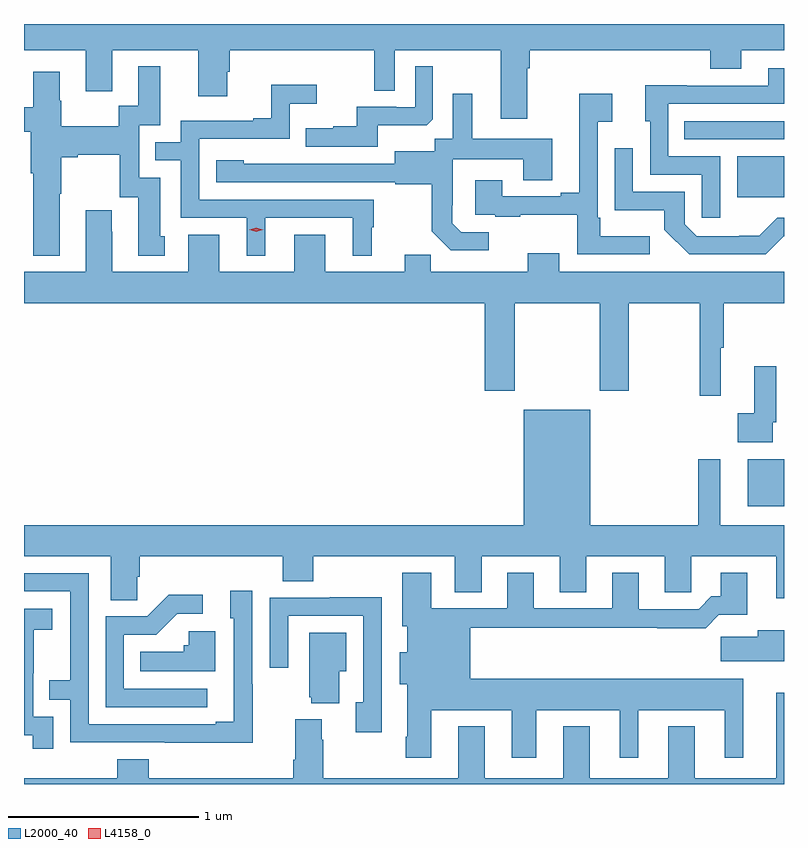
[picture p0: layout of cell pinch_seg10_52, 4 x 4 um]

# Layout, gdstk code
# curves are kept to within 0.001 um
import gdstk
lib = gdstk.Library(unit=1e-6, precision=1e-09)
def R(c, l, rs):  # rectangles x0, y0, x1, y1
    for r in rs: c.add(gdstk.rectangle(r[:2], r[2:], *l))
def P(c, l, *ps):  # polygons
    for p in ps: c.add(gdstk.Polygon(p, *l))
L2000_40 = (2000, 40)
L4158_0 = (4158, 0)

pinch_seg10_52 = lib.new_cell('pinch_seg10_52')
R(pinch_seg10_52, L2000_40, [(847.181,1296.584,847.371,1296.829), (847.124,1298.21,847.371,1298.425), (846.847,1298.514,847.371,1298.61)])
P(pinch_seg10_52, L2000_40, [(843.371,1298.984),(843.695,1298.984),(843.695,1298.766),(843.835,1298.766),(843.835,1298.984),(844.289,1298.984),(844.289,1298.742),(844.441,1298.742),(844.441,1298.871),(844.454,1298.871),(844.454,1298.984),(845.214,1298.984),(845.214,1298.77),(845.322,1298.77),(845.322,1298.984),(845.879,1298.984),(845.879,1298.622),(846.019,1298.622),(846.019,1298.888),(846.032,1298.888),(846.032,1298.984),(846.983,1298.984),(846.983,1298.885),(847.147,1298.885),(847.147,1298.984),(847.371,1298.984),(847.371,1299.121),(843.371,1299.121)],
  [(845.233,1298.588),(845.491,1298.588),(845.523,1298.619),(845.523,1298.899),(845.43,1298.899),(845.43,1298.682),(845.33,1298.682),(845.33,1298.685),(845.123,1298.685),(845.123,1298.584),(844.999,1298.584),(844.999,1298.572),(844.855,1298.572),(844.855,1298.475),(845.233,1298.475)],
  [(843.559,1298.227),(843.567,1298.227),(843.567,1298.42),(843.655,1298.42),(843.655,1298.432),(843.875,1298.432),(843.875,1298.208),(843.971,1298.208),(843.971,1297.902),(844.111,1297.902),(844.111,1298.004),(844.087,1298.004),(844.087,1298.313),(843.978,1298.313),(843.978,1298.589),(844.087,1298.589),(844.087,1298.899),(843.971,1298.899),(843.971,1298.69),(843.87,1298.69),(843.87,1298.584),(843.567,1298.584),(843.567,1298.718),(843.559,1298.718),(843.559,1298.869),(843.419,1298.869),(843.419,1298.683),(843.371,1298.683),(843.371,1298.554),(843.407,1298.554),(843.407,1298.336),(843.419,1298.336),(843.419,1297.901),(843.559,1297.901)],
  [(847.035,1298.424),(846.762,1298.424),(846.762,1298.7),(847.371,1298.7),(847.371,1298.887),(847.289,1298.887),(847.289,1298.796),(846.859,1298.796),(846.859,1298.798),(846.641,1298.798),(846.641,1298.61),(846.666,1298.61),(846.666,1298.328),(846.939,1298.328),(846.939,1298.1),(847.035,1298.1)],
  [(844.642,1298.1),(845.102,1298.1),(845.102,1297.901),(845.2,1297.901),(845.2,1298.052),(845.212,1298.052),(845.212,1298.196),(844.293,1298.196),(844.293,1298.517),(844.77,1298.517),(844.77,1298.702),(844.912,1298.702),(844.912,1298.801),(844.672,1298.801),(844.672,1298.626),(844.577,1298.626),(844.577,1298.613),(844.197,1298.613),(844.197,1298.499),(844.063,1298.499),(844.063,1298.403),(844.197,1298.403),(844.197,1298.1),(844.544,1298.1),(844.544,1297.901),(844.642,1297.901)],
  [(845.818,1298.025),(845.673,1298.025),(845.626,1298.072),(845.626,1298.167),(845.628,1298.167),(845.628,1298.408),(845.999,1298.408),(845.999,1298.299),(846.151,1298.299),(846.151,1298.518),(845.731,1298.518),(845.731,1298.755),(845.627,1298.755),(845.627,1298.516),(845.532,1298.516),(845.532,1298.452),(845.321,1298.452),(845.321,1298.385),(844.527,1298.386),(844.527,1298.404),(844.383,1298.404),(844.383,1298.289),(845.325,1298.289),(845.325,1298.277),(845.517,1298.277),(845.517,1298.031),(845.617,1297.931),(845.818,1297.931)],
  [(846.664,1298.005),(846.403,1298.005),(846.403,1298.101),(846.39,1298.101),(846.39,1298.606),(846.466,1298.606),(846.466,1298.755),(846.293,1298.755),(846.293,1298.233),(846.197,1298.233),(846.197,1298.214),(845.887,1298.214),(845.887,1298.299),(845.747,1298.299),(845.747,1298.118),(845.851,1298.118),(845.851,1298.106),(845.983,1298.106),(845.983,1298.117),(846.282,1298.117),(846.282,1297.908),(846.664,1297.908)],
  [(847.37,1298.003),(847.371,1298.1),(847.335,1298.1),(847.241,1298.006),(847.136,1298.006),(847.136,1298.004),(846.912,1298.004),(846.849,1298.067),(846.849,1298.238),(846.576,1298.238),(846.576,1298.467),(846.48,1298.467),(846.48,1298.141),(846.742,1298.141),(846.742,1298.039),(846.872,1297.908),(847.275,1297.908)],
  [(847.037,1297.416),(847.055,1297.416),(847.055,1297.652),(847.371,1297.652),(847.371,1297.816),(846.187,1297.816),(846.187,1297.915),(846.023,1297.915),(846.023,1297.816),(845.513,1297.816),(845.513,1297.907),(845.375,1297.907),(845.375,1297.816),(844.957,1297.816),(844.957,1298.011),(844.793,1298.011),(844.793,1297.816),(844.399,1297.816),(844.399,1298.011),(844.235,1298.011),(844.235,1297.816),(843.835,1297.816),(843.835,1298.027),(843.832,1298.027),(843.832,1298.14),(843.695,1298.14),(843.695,1297.816),(843.371,1297.816),(843.371,1297.652),(845.795,1297.652),(845.795,1297.191),(845.955,1297.191),(845.955,1297.652),(846.4,1297.652),(846.4,1297.191),(846.555,1297.191),(846.555,1297.652),(846.927,1297.652),(846.927,1297.164),(847.037,1297.164)],
  [(847.311,1297.024),(847.331,1297.024),(847.331,1297.321),(847.214,1297.321),(847.214,1297.073),(847.128,1297.073),(847.128,1296.92),(847.311,1296.92)],
  [(843.966,1296.211),(843.98,1296.211),(843.98,1296.32),(844.733,1296.32),(844.733,1296.187),(844.893,1296.187),(844.893,1296.32),(845.639,1296.32),(845.639,1296.13),(845.779,1296.13),(845.779,1296.32),(846.191,1296.32),(846.191,1296.13),(846.331,1296.13),(846.331,1296.32),(846.743,1296.32),(846.743,1296.13),(846.882,1296.13),(846.882,1296.32),(847.331,1296.32),(847.331,1296.099),(847.371,1296.099),(847.371,1296.484),(847.036,1296.484),(847.036,1296.829),(846.919,1296.829),(846.919,1296.484),(846.352,1296.484),(846.352,1297.09),(846.002,1297.09),(846.002,1296.484),(843.371,1296.484),(843.371,1296.32),(843.827,1296.32),(843.827,1296.088),(843.966,1296.088)],
  [(845.515,1295.51),(845.939,1295.51),(845.939,1295.259),(846.067,1295.259),(846.067,1295.51),(846.506,1295.51),(846.506,1295.259),(846.604,1295.259),(846.604,1295.51),(847.058,1295.51),(847.058,1295.259),(847.156,1295.259),(847.156,1295.674),(845.719,1295.674),(845.719,1295.944),(846.703,1295.944),(846.703,1295.942),(846.959,1295.942),(847.028,1296.011),(847.177,1296.011),(847.177,1296.232),(847.037,1296.232),(847.037,1296.109),(846.988,1296.109),(846.921,1296.042),(846.607,1296.042),(846.607,1296.232),(846.467,1296.232),(846.467,1296.045),(846.055,1296.045),(846.055,1296.232),(845.915,1296.232),(845.915,1296.045),(845.515,1296.045),(845.515,1296.232),(845.363,1296.232),(845.363,1295.952),(845.387,1295.952),(845.387,1295.815),(845.348,1295.815),(845.348,1295.645),(845.387,1295.645),(845.387,1295.371),(845.38,1295.371),(845.38,1295.259),(845.515,1295.259)],
  [(844.575,1295.645),(844.572,1295.645),(844.572,1296.139),(844.457,1296.139),(844.457,1295.994),(844.476,1295.994),(844.476,1295.449),(844.379,1295.449),(844.379,1295.436),(843.711,1295.436),(843.711,1296.231),(843.371,1296.231),(843.371,1296.135),(843.615,1296.135),(843.615,1295.666),(843.505,1295.666),(843.505,1295.565),(843.615,1295.565),(843.615,1295.34),(844.111,1295.34),(844.111,1295.339),(844.575,1295.339)],
  [(844.336,1295.622),(843.897,1295.622),(843.897,1295.907),(844.066,1295.907),(844.177,1296.018),(844.312,1296.018),(844.312,1296.116),(844.133,1296.116),(844.02,1296.003),(843.801,1296.003),(843.801,1295.526),(844.336,1295.526)],
  [(845.253,1296.104),(844.981,1296.104),(844.981,1296.102),(844.665,1296.102),(844.665,1295.733),(844.761,1295.733),(844.761,1296.006),(845.157,1296.006),(845.157,1295.55),(845.117,1295.55),(845.117,1295.394),(845.253,1295.394)],
  [(843.525,1295.475),(843.42,1295.475),(843.42,1295.705),(843.422,1295.705),(843.422,1295.933),(843.52,1295.933),(843.52,1296.043),(843.371,1296.043),(843.371,1295.377),(843.417,1295.377),(843.417,1295.307),(843.525,1295.307)],
  [(847.371,1295.929),(847.232,1295.929),(847.232,1295.897),(847.038,1295.897),(847.038,1295.768),(847.371,1295.768)],
  [(844.378,1295.926),(844.239,1295.926),(844.239,1295.85),(844.213,1295.85),(844.213,1295.818),(843.982,1295.818),(843.982,1295.714),(844.378,1295.714)],
  [(845.029,1295.714),(845.068,1295.714),(845.068,1295.917),(844.871,1295.917),(844.871,1295.577),(844.883,1295.577),(844.883,1295.546),(845.029,1295.546)],
  [(847.371,1295.602),(847.331,1295.602),(847.331,1295.152),(846.901,1295.152),(846.901,1295.425),(846.761,1295.425),(846.761,1295.152),(846.349,1295.152),(846.349,1295.425),(846.209,1295.425),(846.209,1295.152),(845.797,1295.152),(845.797,1295.425),(845.657,1295.425),(845.657,1295.152),(844.947,1295.152),(844.947,1295.354),(844.939,1295.354),(844.939,1295.461),(844.799,1295.461),(844.799,1295.248),(844.787,1295.248),(844.787,1295.152),(844.028,1295.152),(844.028,1295.251),(843.863,1295.251),(843.863,1295.152),(843.371,1295.152),(843.371,1295.121),(847.371,1295.121)])
P(pinch_seg10_52, L4158_0, [(844.593,1298.028),(844.557,1298.038),(844.557,1298.038),(844.557,1298.038),(844.593,1298.048),(844.628,1298.038),(844.629,1298.038),(844.628,1298.038)])

lib.write_gds('pinch_seg10_52.gds')
